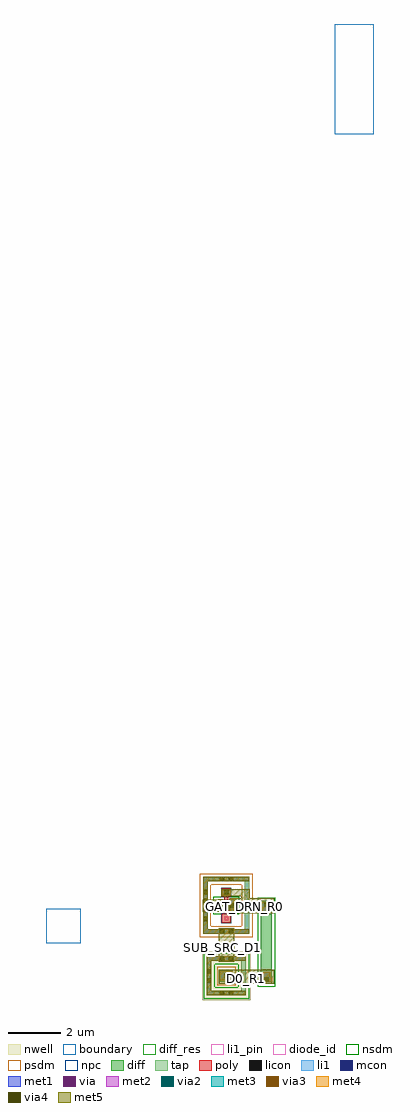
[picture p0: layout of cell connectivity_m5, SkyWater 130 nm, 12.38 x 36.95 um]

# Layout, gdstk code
import gdstk
lib = gdstk.Library(unit=1e-6, precision=1e-09)
def R(c, l, rs):  # rectangles x0, y0, x1, y1
    for r in rs: c.add(gdstk.rectangle(r[:2], r[2:], *l))
def A(c, l, x, y, w, h, nx, ny, dx, dy):  # array of equal rectangles
    R(c, l, [(x+i*dx, y+j*dy, x+i*dx+w, y+j*dy+h) for i in range(nx) for j in range(ny)])
nwell = (64, 20)
diff_res = (65, 13)
diff = (65, 20)
tap = (65, 44)
poly = (66, 20)
licon = (66, 44)
li1_pin = (67, 16)
li1 = (67, 20)
mcon = (67, 44)
met1 = (68, 20)
via = (68, 44)
met2 = (69, 20)
via2 = (69, 44)
met3 = (70, 20)
via3 = (70, 44)
met4 = (71, 20)
via4 = (71, 44)
met5 = (72, 20)
diode_id = (81, 23)
nsdm = (93, 44)
psdm = (94, 20)
npc = (95, 20)
boundary = (235, 4)

connectivity_m5 = lib.new_cell('connectivity_m5')
R(connectivity_m5, nwell, [(-3.777,-6.245,-1.947,-4.415)])
R(connectivity_m5, diff_res, [(-1.559,-5.108,-1.139,-3.008)])
R(connectivity_m5, diff, [(-1.559,-5.623,-1.139,-2.493), (-3.087,-5.555,-2.637,-5.105), (-3.23,-2.875,-2.5,-2.455)])
R(connectivity_m5, tap, [(-3.597,-6.065,-2.127,-5.895), (-3.597,-5.895,-3.427,-4.765), (-2.297,-5.895,-2.127,-4.765), (-3.597,-4.765,-2.127,-4.595), (-3.74,-3.745,-1.99,-3.575), (-3.74,-3.575,-3.57,-1.755), (-2.16,-3.575,-1.99,-1.755), (-3.74,-1.755,-1.99,-1.585)])
R(connectivity_m5, poly, [(-3.03,-3.315,-2.7,-2.985), (-2.94,-2.985,-2.79,-2.345), (-3.03,-2.345,-2.7,-2.015)])
A(connectivity_m5, licon, -3.74, -3.26, 0.17, 0.17, 1, 4, 0, 0.34)
R(connectivity_m5, licon, [(-3.117,-6.065,-2.947,-5.895), (-2.777,-6.065,-2.607,-5.895), (-3.597,-5.585,-3.427,-5.415), (-1.434,-5.563,-1.264,-5.393), (-2.947,-5.415,-2.777,-5.245), (-3.597,-5.245,-3.427,-5.075), (-3.117,-4.765,-2.947,-4.595), (-2.777,-4.765,-2.607,-4.595), (-3.12,-3.745,-2.95,-3.575), (-2.78,-3.745,-2.61,-3.575), (-3.17,-2.75,-3,-2.58), (-2.73,-2.75,-2.56,-2.58), (-1.434,-2.723,-1.264,-2.553), (-2.95,-2.265,-2.78,-2.095), (-3.12,-1.755,-2.95,-1.585), (-2.78,-1.755,-2.61,-1.585)])
R(connectivity_m5, li1_pin, [(-1.402,-5.435,-1.301,-5.32), (-2.907,-5.388,-2.806,-5.273), (-3.559,-5.33,-3.458,-5.215), (-2.927,-3.218,-2.798,-3.094), (-1.4,-2.785,-1.299,-2.67), (-2.709,-2.74,-2.571,-2.605), (-3.152,-2.729,-3.016,-2.602), (-2.933,-2.257,-2.798,-2.122), (-3.718,-2.042,-3.589,-1.889)])
R(connectivity_m5, li1, [(-3.597,-6.065,-2.127,-5.895), (-3.597,-5.895,-3.427,-4.765), (-1.579,-5.563,-1.119,-5.393), (-3.107,-5.495,-2.617,-5.165), (-1.499,-5.393,-1.199,-5.193), (-3.597,-4.765,-2.127,-4.595), (-3.74,-3.745,-1.99,-3.575), (-3.74,-3.575,-3.57,-1.755), (-1.499,-2.923,-1.199,-2.723), (-3.17,-2.895,-3,-2.435), (-2.73,-2.895,-2.56,-2.435), (-1.579,-2.723,-1.119,-2.553), (-3.03,-2.265,-2.7,-2.095), (-3.74,-1.755,-1.99,-1.585)])
A(connectivity_m5, mcon, -3.74, -3.26, 0.17, 0.17, 1, 4, 0, 0.34)
R(connectivity_m5, mcon, [(-3.117,-6.065,-2.947,-5.895), (-2.777,-6.065,-2.607,-5.895), (-3.597,-5.585,-3.427,-5.415), (-1.434,-5.563,-1.264,-5.393), (-2.947,-5.415,-2.777,-5.245), (-3.597,-5.245,-3.427,-5.075), (-3.117,-4.765,-2.947,-4.595), (-2.777,-4.765,-2.607,-4.595), (-3.12,-3.745,-2.95,-3.575), (-2.78,-3.745,-2.61,-3.575), (-3.17,-2.75,-3,-2.58), (-2.73,-2.75,-2.56,-2.58), (-1.434,-2.723,-1.264,-2.553), (-2.95,-2.265,-2.78,-2.095), (-3.12,-1.755,-2.95,-1.585), (-2.78,-1.755,-2.61,-1.585)])
R(connectivity_m5, met1, [(-3.597,-6.065,-2.127,-5.895), (-3.597,-5.895,-3.427,-4.765), (-1.579,-5.563,-1.119,-5.393), (-3.107,-5.495,-2.617,-5.165), (-1.499,-5.393,-1.199,-5.193), (-3.597,-4.765,-2.127,-4.595), (-3.74,-3.745,-1.99,-3.575), (-3.74,-3.575,-3.57,-1.755), (-1.499,-2.923,-1.199,-2.723), (-3.17,-2.895,-3,-2.435), (-2.73,-2.895,-2.56,-2.435), (-1.579,-2.723,-1.119,-2.553), (-3.03,-2.265,-2.7,-2.095), (-3.74,-1.755,-1.99,-1.585)])
A(connectivity_m5, via, -3.74, -3.26, 0.17, 0.17, 1, 4, 0, 0.34)
R(connectivity_m5, via, [(-3.117,-6.065,-2.947,-5.895), (-2.777,-6.065,-2.607,-5.895), (-3.597,-5.585,-3.427,-5.415), (-1.434,-5.563,-1.264,-5.393), (-2.947,-5.415,-2.777,-5.245), (-3.597,-5.245,-3.427,-5.075), (-3.117,-4.765,-2.947,-4.595), (-2.777,-4.765,-2.607,-4.595), (-3.12,-3.745,-2.95,-3.575), (-2.78,-3.745,-2.61,-3.575), (-3.17,-2.75,-3,-2.58), (-2.73,-2.75,-2.56,-2.58), (-1.434,-2.723,-1.264,-2.553), (-2.95,-2.265,-2.78,-2.095), (-3.12,-1.755,-2.95,-1.585), (-2.78,-1.755,-2.61,-1.585)])
R(connectivity_m5, met2, [(-3.597,-6.065,-2.127,-5.895), (-3.597,-5.895,-3.427,-4.765), (-1.579,-5.563,-1.119,-5.393), (-3.107,-5.495,-2.617,-5.165), (-1.499,-5.393,-1.199,-5.193), (-3.597,-4.765,-2.127,-4.595), (-3.74,-3.745,-1.99,-3.575), (-3.74,-3.575,-3.57,-1.755), (-1.499,-2.923,-1.199,-2.723), (-3.17,-2.895,-3,-2.435), (-2.73,-2.895,-2.56,-2.435), (-1.579,-2.723,-1.119,-2.553), (-3.03,-2.265,-2.7,-2.095), (-3.74,-1.755,-1.99,-1.585)])
A(connectivity_m5, via2, -3.74, -3.26, 0.17, 0.17, 1, 4, 0, 0.34)
R(connectivity_m5, via2, [(-3.117,-6.065,-2.947,-5.895), (-2.777,-6.065,-2.607,-5.895), (-3.597,-5.585,-3.427,-5.415), (-1.434,-5.563,-1.264,-5.393), (-2.947,-5.415,-2.777,-5.245), (-3.597,-5.245,-3.427,-5.075), (-3.117,-4.765,-2.947,-4.595), (-2.777,-4.765,-2.607,-4.595), (-3.12,-3.745,-2.95,-3.575), (-2.78,-3.745,-2.61,-3.575), (-3.17,-2.75,-3,-2.58), (-2.73,-2.75,-2.56,-2.58), (-1.434,-2.723,-1.264,-2.553), (-2.95,-2.265,-2.78,-2.095), (-3.12,-1.755,-2.95,-1.585), (-2.78,-1.755,-2.61,-1.585)])
R(connectivity_m5, met3, [(-3.597,-6.065,-2.127,-5.895), (-3.597,-5.895,-3.427,-4.765), (-1.579,-5.563,-1.119,-5.393), (-3.107,-5.495,-2.617,-5.165), (-1.499,-5.393,-1.199,-5.193), (-3.597,-4.765,-2.127,-4.595), (-3.74,-3.745,-1.99,-3.575), (-3.74,-3.575,-3.57,-1.755), (-1.499,-2.923,-1.199,-2.723), (-3.17,-2.895,-3,-2.435), (-2.73,-2.895,-2.56,-2.435), (-1.579,-2.723,-1.119,-2.553), (-3.03,-2.265,-2.7,-2.095), (-3.74,-1.755,-1.99,-1.585)])
A(connectivity_m5, via3, -3.74, -3.26, 0.17, 0.17, 1, 4, 0, 0.34)
R(connectivity_m5, via3, [(-3.117,-6.065,-2.947,-5.895), (-2.777,-6.065,-2.607,-5.895), (-3.597,-5.585,-3.427,-5.415), (-1.434,-5.563,-1.264,-5.393), (-2.947,-5.415,-2.777,-5.245), (-3.597,-5.245,-3.427,-5.075), (-3.117,-4.765,-2.947,-4.595), (-2.777,-4.765,-2.607,-4.595), (-3.12,-3.745,-2.95,-3.575), (-2.78,-3.745,-2.61,-3.575), (-3.17,-2.75,-3,-2.58), (-2.73,-2.75,-2.56,-2.58), (-1.434,-2.723,-1.264,-2.553), (-2.95,-2.265,-2.78,-2.095), (-3.12,-1.755,-2.95,-1.585), (-2.78,-1.755,-2.61,-1.585)])
R(connectivity_m5, met4, [(-3.597,-6.065,-2.127,-5.895), (-3.597,-5.895,-3.427,-4.765), (-1.579,-5.563,-1.119,-5.393), (-3.107,-5.495,-2.617,-5.165), (-1.499,-5.393,-1.199,-5.193), (-3.597,-4.765,-2.127,-4.595), (-3.74,-3.745,-1.99,-3.575), (-3.74,-3.575,-3.57,-1.755), (-1.499,-2.923,-1.199,-2.723), (-3.17,-2.895,-3,-2.435), (-2.73,-2.895,-2.56,-2.435), (-1.579,-2.723,-1.119,-2.553), (-3.03,-2.265,-2.7,-2.095), (-3.74,-1.755,-1.99,-1.585)])
A(connectivity_m5, via4, -3.74, -3.26, 0.17, 0.17, 1, 4, 0, 0.34)
R(connectivity_m5, via4, [(-3.117,-6.065,-2.947,-5.895), (-2.777,-6.065,-2.607,-5.895), (-3.597,-5.585,-3.427,-5.415), (-1.434,-5.563,-1.264,-5.393), (-2.947,-5.415,-2.777,-5.245), (-3.597,-5.245,-3.427,-5.075), (-3.117,-4.765,-2.947,-4.595), (-2.777,-4.765,-2.607,-4.595), (-3.12,-3.745,-2.95,-3.575), (-2.78,-3.745,-2.61,-3.575), (-3.17,-2.75,-3,-2.58), (-2.73,-2.75,-2.56,-2.58), (-1.434,-2.723,-1.264,-2.553), (-2.95,-2.265,-2.78,-2.095), (-3.12,-1.755,-2.95,-1.585), (-2.78,-1.755,-2.61,-1.585)])
R(connectivity_m5, met5, [(-3.597,-6.065,-2.127,-5.895), (-3.597,-5.895,-3.427,-4.765), (-3.142,-5.623,-1.054,-5.106), (-1.579,-5.563,-1.119,-5.393), (-3.107,-5.495,-2.617,-5.165), (-1.499,-5.393,-1.199,-5.193), (-3.147,-4.796,-2.563,-3.535), (-3.597,-4.765,-2.127,-4.595), (-3.74,-3.745,-1.99,-3.575), (-3.74,-3.575,-3.57,-1.755), (-2.307,-2.965,-1.977,-2.044), (-2.752,-2.964,-1.045,-2.385), (-1.499,-2.923,-1.199,-2.723), (-3.755,-2.911,-2.995,-2.442), (-3.17,-2.895,-3,-2.435), (-2.73,-2.895,-2.56,-2.435), (-1.579,-2.723,-1.119,-2.553), (-3.065,-2.317,-1.98,-2.044), (-3.03,-2.265,-2.7,-2.095), (-3.74,-1.755,-1.99,-1.585)])
R(connectivity_m5, diode_id, [(-3.087,-5.555,-2.637,-5.105)])
R(connectivity_m5, nsdm, [(-3.722,-6.19,-2.002,-5.77), (-3.722,-5.77,-3.302,-4.89), (-2.422,-5.77,-2.002,-4.89), (-1.684,-5.748,-1.014,-2.368), (-3.722,-4.89,-2.002,-4.47), (-3.355,-3,-2.375,-2.33)])
R(connectivity_m5, psdm, [(-3.212,-5.68,-2.512,-4.98), (-3.865,-3.87,-1.865,-3.45), (-3.865,-3.45,-3.445,-1.88), (-2.285,-3.45,-1.865,-1.88), (-3.865,-1.88,-1.865,-1.46)])
R(connectivity_m5, npc, [(-3.05,-3.335,-2.68,-2.965), (-3.05,-2.365,-2.68,-1.995)])
R(connectivity_m5, boundary, [(-9.675,-4.095,-8.375,-2.795), (-3.655,-3.66,-2.075,-1.67), (1.24,26.52,2.71,30.7)])
connectivity_m5.add(gdstk.Label('SUB_SRC_D1', (-3.007,-4.252), layer=72, texttype=5))
connectivity_m5.add(gdstk.Label('GAT_DRN_R0', (-2.195,-2.716), layer=72, texttype=5))
connectivity_m5.add(gdstk.Label('D0_R1', (-2.103,-5.414), layer=72, texttype=5))

lib.write_gds('connectivity_m5.gds')
